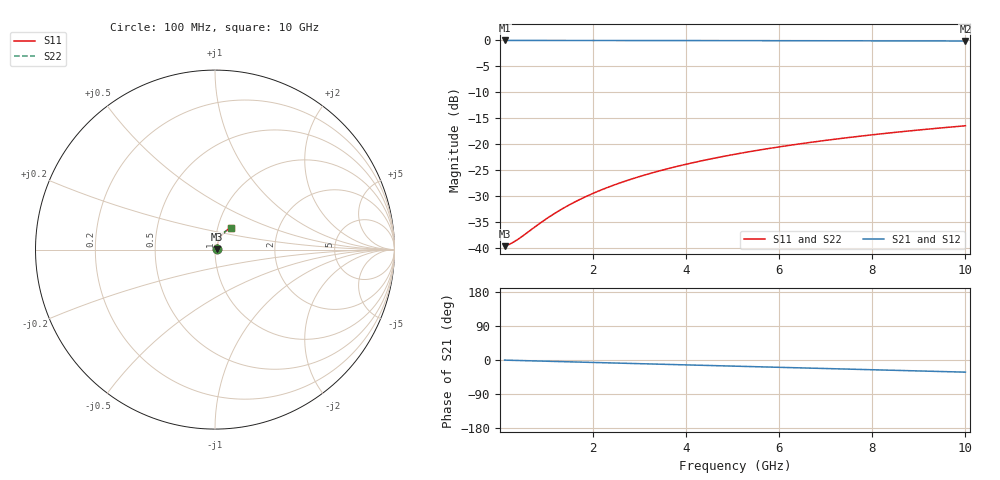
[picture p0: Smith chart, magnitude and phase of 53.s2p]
# Hz S RI R 50.00
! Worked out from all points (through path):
!   100 points, 100 MHz to 10 GHz, reference 50 ohm
!   highest |S21| = -0.09 dB at 100 MHz (marker M1); lowest = -0.2 dB at 10 GHz (marker M2)
!   group delay of S21, straight-line fit = 8.91 ps
!   lowest |S11| = -39.7 dB at 100 MHz (marker M3), VSWR 1.02, Z = 51 + j0.156 ohm
!   |S11| at or under -10 dB: start of sweep to end of sweep
!   |S22| runs from -39.7 to -16.5 dB; largest |S21 - S12| = 0
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1e8  0.0102 0.00152  0.9898 -0.00557  0.9898 -0.00557  0.0102 0.00152
2e8  0.0103 0.00305  0.9897 -0.0111  0.9897 -0.0111  0.0103 0.00305
3e8  0.0104 0.00457  0.9895 -0.0167  0.9895 -0.0167  0.0104 0.00457
4e8  0.0105 0.00609  0.9894 -0.0223  0.9894 -0.0223  0.0105 0.00609
9e8  0.0112 0.0137  0.9881 -0.0501  0.9881 -0.0501  0.0112 0.0137
1.2e9  0.0118 0.0182  0.987 -0.0668  0.987 -0.0668  0.0118 0.0182
1.5e9  0.0125 0.0227  0.9856 -0.0834  0.9856 -0.0834  0.0125 0.0227
1.8e9  0.0134 0.0272  0.9838 -0.1  0.9838 -0.1  0.0134 0.0272
2.1e9  0.0145 0.0316  0.9818 -0.1166  0.9818 -0.1166  0.0145 0.0316
2.5e9  0.0161 0.0375  0.9787 -0.1386  0.9787 -0.1386  0.0161 0.0375
2.9e9  0.0179 0.0433  0.975 -0.1606  0.975 -0.1606  0.0179 0.0433
3.4e9  0.0206 0.0504  0.9697 -0.1878  0.9697 -0.1878  0.0206 0.0504
3.8e9  0.0231 0.0559  0.9649 -0.2095  0.9649 -0.2095  0.0231 0.0559
4.2e9  0.0258 0.0613  0.9595 -0.231  0.9595 -0.231  0.0258 0.0613
4.6e9  0.0287 0.0666  0.9536 -0.2523  0.9536 -0.2523  0.0287 0.0666
5.1e9  0.0327 0.0731  0.9456 -0.2788  0.9456 -0.2788  0.0327 0.0731
5.9e9  0.0398 0.0828  0.9312 -0.3205  0.9312 -0.3205  0.0398 0.0828
6.7e9  0.0478 0.0919  0.9148 -0.3613  0.9148 -0.3613  0.0478 0.0919
7.5e9  0.0565 0.1002  0.8966 -0.4013  0.8966 -0.4013  0.0565 0.1002
8.4e9  0.0671 0.1085  0.874 -0.4449  0.874 -0.4449  0.0671 0.1085
9.2e9  0.0772 0.115  0.8522 -0.4825  0.8522 -0.4825  0.0772 0.115
1e10  0.0878 0.1205  0.8286 -0.519  0.8286 -0.519  0.0878 0.1205
